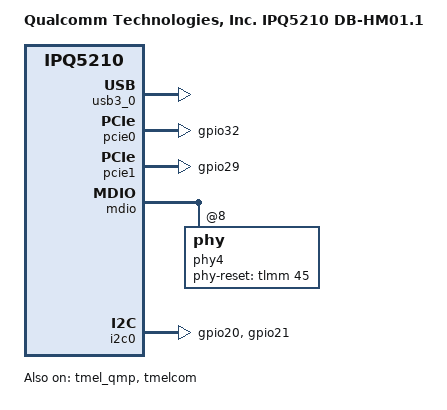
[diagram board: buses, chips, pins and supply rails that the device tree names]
// SPDX-License-Identifier: GPL-2.0-only
/*
 * Copyright (c) Qualcomm Technologies, Inc. and/or its subsidiaries.
 */

/dts-v1/;

#include "ipq5210-u-boot.dtsi"

/ {
	model = "Qualcomm Technologies, Inc. IPQ5210 DB-HM01.1";
	compatible = "qcom,ipq5210-db-hm01.1", "qcom,ipq5210";

	aliases {
		serial0 = &uart1;
	};

	soc@0 {
		qmp_ssphy_0: ssphy@7D000 {
			status = "okay";
		};

		qusb2_phy_0: qusb2_0@7B000 {
			status = "okay";
		};

		usb3_0: usb3_0@8af8800 {
			status = "okay";
		};

		pcie0: pcie@70000000 {
			pinctrl-0 = <&pcie0_default_state>;
			pinctrl-names = "default";
			perst-gpios = <&tlmm 32 GPIO_ACTIVE_LOW>;
			status = "okay";
		};

		pcie1: pcie@50000000 {
			pinctrl-0 = <&pcie1_default_state>;
			pinctrl-names = "default";
			perst-gpios = <&tlmm 29 GPIO_ACTIVE_LOW>;
			status = "okay";
		};

		mdio: mdio@90000 {
			status = "okay";
			phy4: phy@8 {
				phy-reset-gpio = <&tlmm 45 0>;
				phy_addr = <8>;
				phy_type = <QCA81xx_PHY_TYPE>;
				id = <5>;
				uniphy_id = <1>;
				uniphy_type = <1>;
				xgmac;
			};
		};

		ess_instance: ess-instance {
			pinctrl-names = "default";
			pinctrl-0 = <&phy_rst_pinmux>;
			phy-handle0 = <&phy4>;
			status = "okay";
		};
	};
};

&tlmm {
	pcie0_default_state: pcie0-default-state {
		perst-n-pins {
			pins = "gpio32";
			function = "gpio";
			drive-strength = <6>;
			bias-pull-down;
			output-low;
		};
	};

	pcie1_default_state: pcie1-default-state {
		perst-n-pins {
			pins = "gpio29";
			function = "gpio";
			drive-strength = <6>;
			bias-pull-down;
			output-low;
		};
	};

	phy_rst_pinmux: phy_rst {
		qti_laguna0_rst {
			pins = "gpio45";
			drive-strength = <2>;
			bias-pull-up;
			output-high;
		};
	};

	i2c0_pinmux: i2c0 {
		i2c0_scl {
			pins = "gpio20";
			function = "i2c0_scl";
			drive-strength = <8>;
			bias-disable;
		};

		i2c0_sda {
			pins = "gpio21";
			function = "i2c0_sda";
			drive-strength = <8>;
			bias-disable;
		};
	};
};

&qupv3 {
	i2c0: i2c@1a88000 {
		pinctrl-0 = <&i2c0_pinmux>;
		pinctrl-names = "default";
		status = "okay";
	};
};

&tmel_qmp {
	status = "okay";
};

&tmelcom {
	status = "okay";
};
